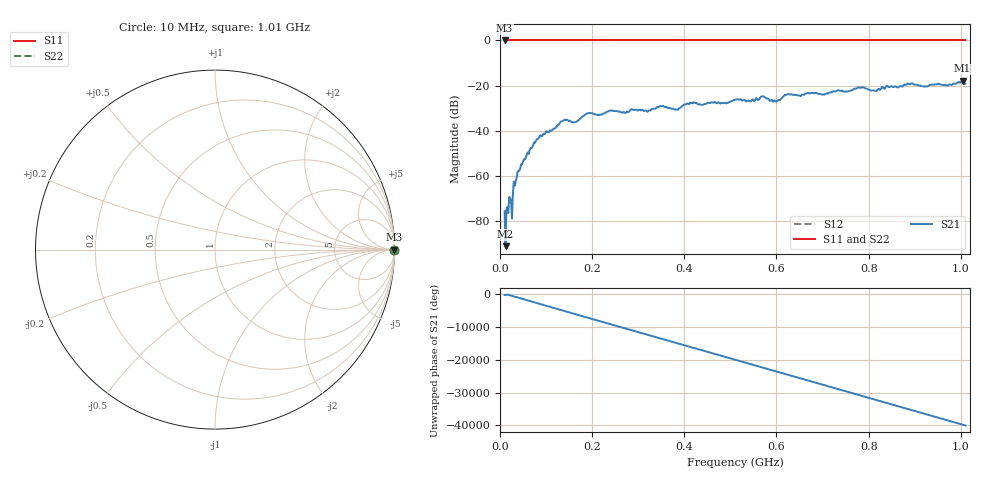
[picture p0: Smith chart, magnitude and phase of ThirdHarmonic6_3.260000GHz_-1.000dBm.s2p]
! 8/17/2025 10:03:32 AM
! C:\ANRITSUVNA\TEMP\TEMP.S2P
! CHANNEL.1
! TR.MEASUREMENT
! RAW.DATA
! RF.CORRECTION.OFF
! AVERAGING.OFF
! IF.BANDWIDTH: 5KHZ
! SWEEPTYPE:  FREQ.SWEEP(Linear)
! Reference Plane Port Info
! PORT:  PORT1  PORT2
! DISTANCE:  0  m  0  m
! TIME:  0  s  0  s
! PHASE.OFFSET:  0  deg.  0  deg.
! LOSS:  0  dB  0  dB
! REF.LOSS:  0  dB  0  dB
! REF.FREQ:  0  Hz  0  Hz
! Power Info
! POWER:  -20  dBm  -20  dBm
! EFF.POWER:  -20  dBm  -20  dBm
! SOURCE.ATTEN:  0  dB  0  dB
! TEST.ATTEN:  0  dB  0  dB
# GHZ S RI R 50.0
! FREQ.GHZ  S11RE  S11IM  S21RE  S21IM  S12RE  S12IM  S22RE  S22IM
!; PortSelection: Port_12
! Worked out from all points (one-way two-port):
!   501 points, 10 MHz to 1.01 GHz, reference 50 ohm
!   highest |S21| = -17.86 dB at 1.004 GHz (marker M1); lowest = -91.1 dB at 12 MHz (marker M2)
!   lowest |S11| = 0.0 dB at 10 MHz (marker M3)
!   |S11| at or under -10 dB: nowhere
!   |S22| runs from 0.0 to 0.0 dB; largest |S21 - S12| = 1.1
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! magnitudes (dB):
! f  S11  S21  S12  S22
! 10 MHz  0.0  -75.7  0.0  0.0
! 12 MHz  0.0  -91.1  0.0  0.0
! 20 MHz  0.0  -69.4  0.0  0.0
! 22 MHz  0.0  -69.9  0.0  0.0
! 30 MHz  0.0  -62.4  0.0  0.0
! 34 MHz  0.0  -62.6  0.0  0.0
! 42 MHz  0.0  -57.7  0.0  0.0
! 78 MHz  0.0  -44.5  0.0  0.0
! 136 MHz  0.0  -35.6  0.0  0.0
! 162 MHz  0.0  -36.2  0.0  0.0
! 178 MHz  0.0  -33.8  0.0  0.0
! 344 MHz  0.0  -29.6  0.0  0.0
! 382 MHz  0.0  -30.6  0.0  0.0
! 416 MHz  0.0  -27.9  0.0  0.0
! 510 MHz  0.0  -26.3  0.0  0.0
! 570 MHz  0.0  -24.7  0.0  0.0
! 596 MHz  0.0  -26.6  0.0  0.0
! 622 MHz  0.0  -24.0  0.0  0.0
! 678 MHz  0.0  -23.2  0.0  0.0
! 844 MHz  0.0  -20.7  0.0  0.0
! 1.004 GHz  0.0  -17.9  0.0  0.0
! 1.01 GHz  0.0  -19.2  0.0  0.0
